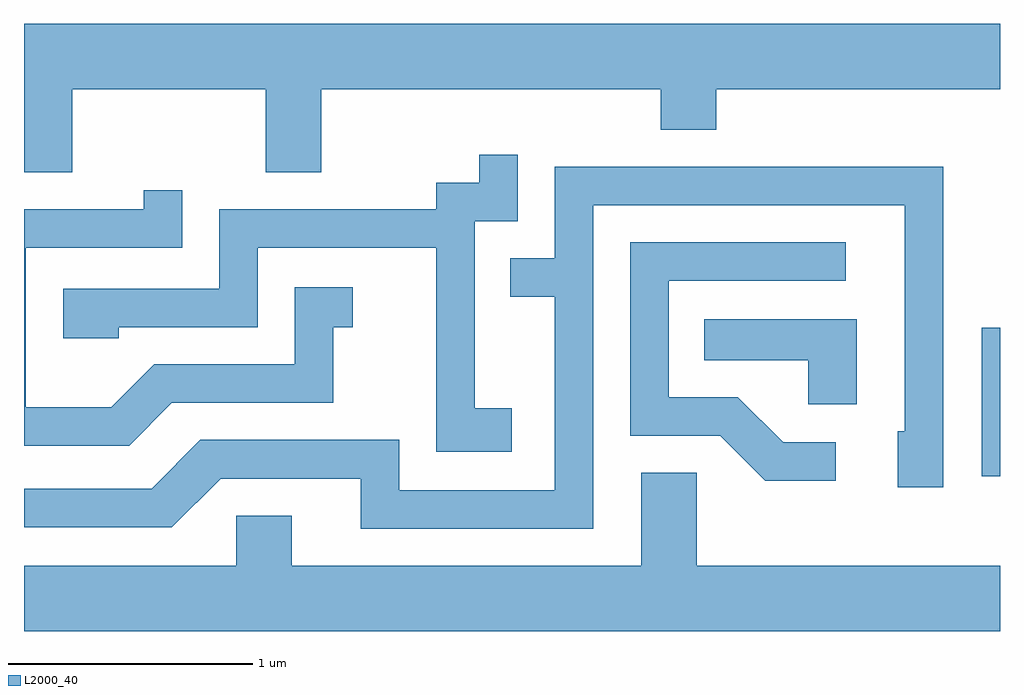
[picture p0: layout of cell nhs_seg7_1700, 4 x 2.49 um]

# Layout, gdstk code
import gdstk
lib = gdstk.Library(unit=1e-6, precision=1e-09)
def R(c, l, rs):  # rectangles x0, y0, x1, y1
    for r in rs: c.add(gdstk.rectangle(r[:2], r[2:], *l))
def P(c, l, *ps):  # polygons
    for p in ps: c.add(gdstk.Polygon(p, *l))
L2000_40 = (2000, 40)

nhs_seg7_1700 = lib.new_cell('nhs_seg7_1700')
R(nhs_seg7_1700, L2000_40, [(241.536,1677.211,241.611,1677.818)])
P(nhs_seg7_1700, L2000_40, [(237.809,1678.796),(238.601,1678.796),(238.601,1678.456),(238.829,1678.456),(238.829,1678.796),(240.221,1678.796),(240.221,1678.631),(240.449,1678.631),(240.449,1678.796),(241.611,1678.796),(241.611,1679.064),(237.611,1679.064),(237.611,1678.456),(237.809,1678.456)],
  [(239.609,1677.489),(239.459,1677.489),(239.459,1678.256),(239.634,1678.256),(239.634,1678.528),(239.476,1678.528),(239.476,1678.414),(239.301,1678.414),(239.301,1678.304),(238.411,1678.304),(238.411,1677.979),(237.771,1677.979),(237.771,1677.776),(237.999,1677.776),(237.999,1677.821),(238.569,1677.821),(238.569,1678.146),(239.301,1678.146),(239.301,1677.311),(239.609,1677.311)],
  [(239.944,1678.321),(241.221,1678.321),(241.221,1677.394),(241.191,1677.394),(241.191,1677.166),(241.379,1677.166),(241.379,1678.479),(239.786,1678.479),(239.786,1678.104),(239.603,1678.104),(239.603,1677.946),(239.786,1677.946),(239.786,1677.154),(239.149,1677.154),(239.149,1677.359),(238.334,1677.359),(238.134,1677.159),(237.611,1677.159),(237.611,1677.001),(238.217,1677.001),(238.417,1677.201),(238.991,1677.201),(238.991,1676.996),(239.944,1676.996)],
  [(238.217,1677.511),(238.879,1677.511),(238.879,1677.821),(238.958,1677.821),(238.958,1677.984),(238.721,1677.984),(238.721,1677.669),(238.144,1677.669),(237.969,1677.494),(237.619,1677.494),(237.619,1678.146),(238.259,1678.146),(238.259,1678.383),(238.101,1678.383),(238.101,1678.304),(237.611,1678.304),(237.611,1677.336),(238.042,1677.336)],
  [(240.938,1677.349),(240.722,1677.349),(240.537,1677.534),(240.254,1677.534),(240.254,1678.011),(240.978,1678.011),(240.978,1678.169),(240.096,1678.169),(240.096,1677.376),(240.464,1677.376),(240.649,1677.191),(240.938,1677.191)],
  [(241.024,1677.854),(240.398,1677.854),(240.398,1677.686),(240.826,1677.686),(240.826,1677.506),(241.024,1677.506)],
  [(241.611,1676.844),(240.369,1676.844),(240.369,1677.224),(240.141,1677.224),(240.141,1676.844),(238.709,1676.844),(238.709,1677.049),(238.481,1677.049),(238.481,1676.844),(237.611,1676.844),(237.611,1676.576),(241.611,1676.576)])

lib.write_gds('nhs_seg7_1700.gds')
